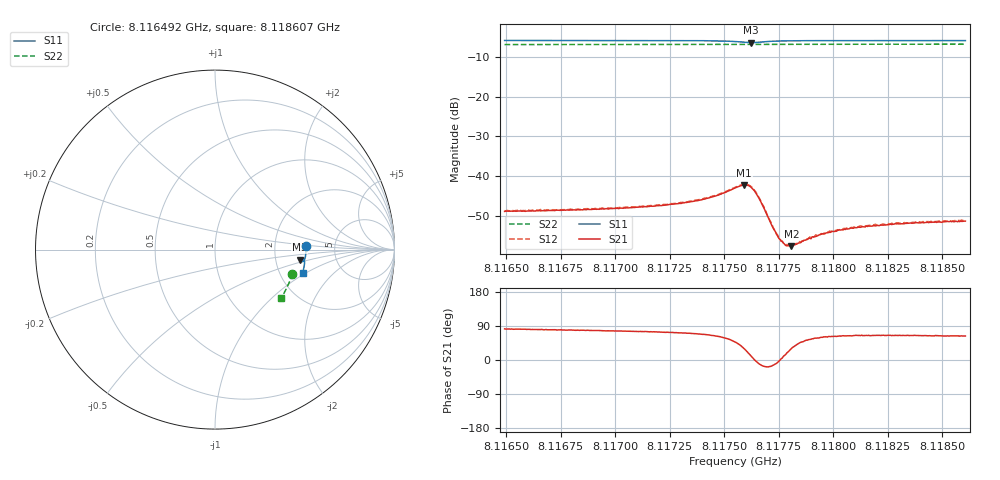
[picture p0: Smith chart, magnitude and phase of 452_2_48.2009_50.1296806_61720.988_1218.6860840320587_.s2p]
#  HZ  S  RI  R  50.00
! Rohde & Schwarz Vector Network Analyzer
! Rohde-Schwarz,ZNB20-2Port,1311601062101988,3.16
! Created: UTC 3/20/2024, 11:56:17 AM
! freq[Hz]  re:S11  im:S11  re:S21  im:S21  re:S12  im:S12  re:S22  im:S22
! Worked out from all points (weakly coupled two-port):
!   401 points, 8.116492 GHz to 8.118607 GHz, reference 50 ohm
!   highest |S21| = -42.23 dB at 8.117592 GHz (marker M1); lowest = -57.6 dB at 8.117808 GHz (marker M2)
!   lowest |S11| = -6.4 dB at 8.117623 GHz (marker M3), VSWR 2.82, Z = 138 - j19.9 ohm
!   |S11| at or under -10 dB: nowhere
!   |S22| runs from -6.9 to -6.8 dB; largest |S21 - S12| = 0.00021
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8.1164923e9  0.5067 0.0221  0.000501 0.00356  0.000574 0.00363  0.4296 -0.1344
8.1168465e9  0.5066 -0.00493  0.000745 0.00371  0.00082 0.00376  0.4225 -0.1581
8.1172006e9  0.5046 -0.0332  0.00118 0.00408  0.00128 0.00417  0.414 -0.1813
8.1172852e9  0.5035 -0.0403  0.00141 0.00428  0.00145 0.00432  0.4118 -0.187
8.1174015e9  0.5008 -0.0513  0.00193 0.00471  0.00199 0.00476  0.4085 -0.1945
8.1174755e9  0.497 -0.0593  0.00273 0.00513  0.00281 0.00519  0.4064 -0.1992
8.1175494e9  0.4874 -0.0668  0.00476 0.00526  0.00488 0.00532  0.4038 -0.2039
8.1175917e9  0.4771 -0.0648  0.00671 0.00384  0.00686 0.0039  0.4023 -0.2062
8.1176076e9  0.4741 -0.0609  0.00718 0.00266  0.00734 0.00268  0.4017 -0.207
8.1176234e9  0.4733 -0.0557  0.00712 0.0013  0.00727 0.00127  0.4013 -0.2078
8.1176393e9  0.475 -0.0505  0.0065 3.54e-05  0.00661 -1.39e-05  0.4008 -0.2086
8.1176552e9  0.479 -0.0474  0.00549 -0.00077  0.00559 -0.000824  0.4006 -0.2094
8.1177186e9  0.4931 -0.0503  0.00231 -0.000645  0.00239 -0.000709  0.3995 -0.2135
8.1177503e9  0.4962 -0.0549  0.00165 -0.000107  0.00169 -0.000147  0.3985 -0.2155
8.1177662e9  0.4973 -0.0568  0.00149 0.000134  0.00151 0.000166  0.3982 -0.2166
8.117782e9  0.4978 -0.059  0.0013 0.00034  0.00136 0.000366  0.3977 -0.2176
8.1178084e9  0.4986 -0.0622  0.00114 0.000662  0.00118 0.000686  0.3971 -0.2194
8.1179036e9  0.4991 -0.0723  0.000967 0.00143  0.000971 0.00138  0.3939 -0.2256
8.1179723e9  0.4987 -0.0787  0.000957 0.00168  0.000954 0.00172  0.3916 -0.2299
8.118041e9  0.4979 -0.0846  0.00093 0.00189  0.000977 0.0019  0.3895 -0.2341
8.1182577e9  0.4949 -0.102  0.00104 0.00224  0.00109 0.00226  0.3817 -0.2474
8.1186065e9  0.4886 -0.1281  0.00122 0.00243  0.0013 0.00246  0.3687 -0.2681
